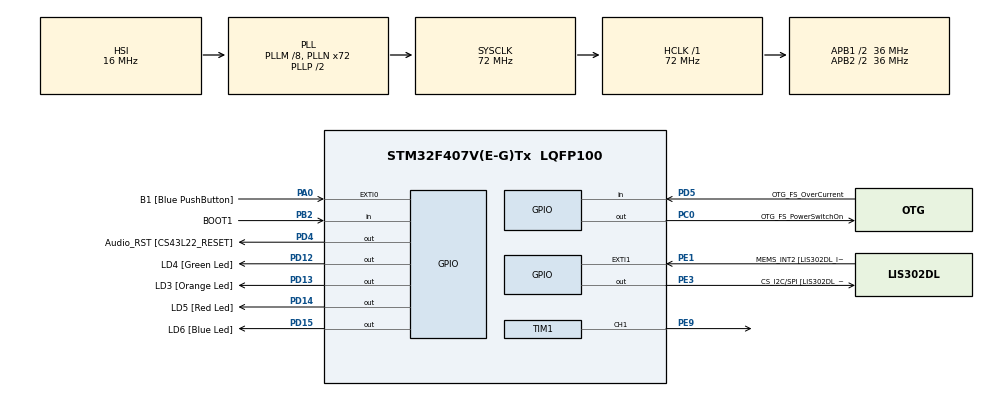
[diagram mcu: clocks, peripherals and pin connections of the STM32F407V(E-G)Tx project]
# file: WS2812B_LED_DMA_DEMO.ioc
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Dma.Request0=TIM1_CH1
Dma.TIM1_CH1.0.Direction=DMA_MEMORY_TO_PERIPH
Dma.TIM1_CH1.0.FIFOMode=DMA_FIFOMODE_DISABLE
Dma.TIM1_CH1.0.Instance=DMA2_Stream1
Dma.TIM1_CH1.0.MemDataAlignment=DMA_MDATAALIGN_HALFWORD
Dma.TIM1_CH1.0.MemInc=DMA_MINC_ENABLE
Dma.TIM1_CH1.0.Mode=DMA_NORMAL
Dma.TIM1_CH1.0.PeriphDataAlignment=DMA_PDATAALIGN_HALFWORD
Dma.TIM1_CH1.0.PeriphInc=DMA_PINC_DISABLE
Dma.TIM1_CH1.0.Priority=DMA_PRIORITY_LOW
Mcu.Family=STM32F4
Mcu.Name=STM32F407V(E-G)Tx
Mcu.Package=LQFP100
NVIC.DMA2_Stream1_IRQn=true\:0\:0\:false\:false\:true\:false\:true\:true
NVIC.PriorityGroup=NVIC_PRIORITYGROUP_0
PA0-WKUP.GPIO_Label=B1 [Blue PushButton]
PA0-WKUP.Signal=GPXTI0
PA10.GPIO_Label=OTG_FS_ID
PA10.GPIO_Mode=GPIO_MODE_AF_PP
PA10.GPIO_PuPd=GPIO_NOPULL
PA10.GPIO_Speed=GPIO_SPEED_FREQ_LOW
PA10.Signal=USB_OTG_FS_ID
PA11.GPIO_Label=OTG_FS_DM
PA11.GPIO_Mode=GPIO_MODE_AF_PP
PA11.GPIO_PuPd=GPIO_NOPULL
PA11.GPIO_Speed=GPIO_SPEED_FREQ_LOW
PA11.Signal=USB_OTG_FS_DM
PA12.GPIO_Label=OTG_FS_DP
PA12.GPIO_Mode=GPIO_MODE_AF_PP
PA12.GPIO_PuPd=GPIO_NOPULL
PA12.GPIO_Speed=GPIO_SPEED_FREQ_LOW
PA12.Signal=USB_OTG_FS_DP
PA13.GPIO_Label=SWDIO
PA13.Signal=SYS_JTMS-SWDIO
PA14.GPIO_Label=SWCLK
PA14.Signal=SYS_JTCK-SWCLK
PA4.GPIO_Label=I2S3_WS [CS43L22_LRCK]
PA4.GPIO_Mode=GPIO_MODE_AF_PP
PA4.GPIO_PuPd=GPIO_NOPULL
PA4.GPIO_Speed=GPIO_SPEED_FREQ_LOW
PA4.Signal=I2S3_WS
PA5.GPIO_Label=SPI1_SCK [LIS302DL_SCL/SPC]
PA5.GPIO_Mode=GPIO_MODE_AF_PP
PA5.GPIO_PuPd=GPIO_NOPULL
PA5.GPIO_Speed=GPIO_SPEED_FREQ_LOW
PA5.Signal=SPI1_SCK
PA6.GPIO_Label=SPI1_MISO [LIS302DL_SDO]
PA6.GPIO_Mode=GPIO_MODE_AF_PP
PA6.GPIO_PuPd=GPIO_NOPULL
PA6.GPIO_Speed=GPIO_SPEED_FREQ_LOW
PA6.Signal=SPI1_MISO
PA7.GPIO_Label=SPI1_MOSI [LIS302DL_SDA/SDI/SDO]
PA7.GPIO_Mode=GPIO_MODE_AF_PP
PA7.GPIO_PuPd=GPIO_NOPULL
PA7.GPIO_Speed=GPIO_SPEED_FREQ_LOW
PA7.Signal=SPI1_MOSI
PA9.GPIO_Label=VBUS_FS
PA9.GPIO_Mode=GPIO_MODE_INPUT
PA9.GPIO_PuPd=GPIO_NOPULL
PA9.Signal=USB_OTG_FS_VBUS
PB10.GPIO_Label=CLK_IN [MP45DT02_CLK]
PB10.GPIO_Mode=GPIO_MODE_AF_PP
PB10.GPIO_PuPd=GPIO_NOPULL
PB10.GPIO_Speed=GPIO_SPEED_FREQ_LOW
PB10.Signal=I2S2_CK
PB2.GPIO_Label=BOOT1
PB2.GPIO_Mode=GPIO_MODE_INPUT
PB2.GPIO_PuPd=GPIO_NOPULL
PB2.Signal=GPIO_Input
PB3.GPIO_Label=SWO
PB3.Signal=SYS_JTDO-SWO
PB6.GPIO_Label=Audio_SCL [CS43L22_SCL]
PB6.GPIO_Mode=GPIO_MODE_AF_OD
PB6.GPIO_PuPd=GPIO_NOPULL
PB6.GPIO_Speed=GPIO_SPEED_FREQ_LOW
PB6.Signal=I2C1_SCL
PB9.GPIO_Label=Audio_SDA [CS43L22_SDA]
PB9.GPIO_Mode=GPIO_MODE_AF_OD
PB9.GPIO_PuPd=GPIO_NOPULL
PB9.GPIO_Speed=GPIO_SPEED_FREQ_LOW
PB9.Signal=I2C1_SDA
PC0.GPIO_Label=OTG_FS_PowerSwitchOn
PC0.GPIO_PuPd=GPIO_NOPULL
PC0.GPIO_Speed=GPIO_SPEED_FREQ_LOW
PC0.PinState=GPIO_PIN_SET
PC0.Signal=GPIO_Output
PC10.GPIO_Label=I2S3_SCK [CS43L22_SCLK]
PC10.GPIO_Mode=GPIO_MODE_AF_PP
PC10.GPIO_PuPd=GPIO_NOPULL
PC10.GPIO_Speed=GPIO_SPEED_FREQ_LOW
PC10.Signal=I2S3_CK
PC12.GPIO_Label=I2S3_SD [CS43L22_SDIN]
PC12.GPIO_Mode=GPIO_MODE_AF_PP
PC12.GPIO_PuPd=GPIO_NOPULL
PC12.GPIO_Speed=GPIO_SPEED_FREQ_LOW
PC12.Signal=I2S3_SD
PC14-OSC32_IN.GPIO_Label=PC14-OSC32_IN
PC14-OSC32_IN.Signal=RCC_OSC32_IN
PC15-OSC32_OUT.GPIO_Label=PC15-OSC32_OUT
PC15-OSC32_OUT.Signal=RCC_OSC32_OUT
PC3.GPIO_Label=PDM_OUT [MP45DT02_DOUT]
PC3.GPIO_Mode=GPIO_MODE_AF_PP
PC3.GPIO_PuPd=GPIO_NOPULL
PC3.GPIO_Speed=GPIO_SPEED_FREQ_LOW
PC3.Signal=I2S2_SD
PC7.GPIO_Label=I2S3_MCK [CS43L22_MCLK]
PC7.GPIO_Mode=GPIO_MODE_AF_PP
PC7.GPIO_PuPd=GPIO_NOPULL
PC7.GPIO_Speed=GPIO_SPEED_FREQ_LOW
PC7.Signal=I2S3_MCK
PD12.GPIO_Label=LD4 [Green Led]
PD12.GPIO_PuPd=GPIO_NOPULL
PD12.GPIO_Speed=GPIO_SPEED_FREQ_LOW
PD12.Signal=GPIO_Output
PD13.GPIO_Label=LD3 [Orange Led]
PD13.GPIO_PuPd=GPIO_NOPULL
PD13.GPIO_Speed=GPIO_SPEED_FREQ_LOW
PD13.Signal=GPIO_Output
PD14.GPIO_Label=LD5 [Red Led]
PD14.GPIO_PuPd=GPIO_NOPULL
PD14.GPIO_Speed=GPIO_SPEED_FREQ_LOW
PD14.Signal=GPIO_Output
PD15.GPIO_Label=LD6 [Blue Led]
PD15.GPIO_PuPd=GPIO_NOPULL
PD15.GPIO_Speed=GPIO_SPEED_FREQ_LOW
PD15.Signal=GPIO_Output
PD4.GPIO_Label=Audio_RST [CS43L22_RESET]
PD4.GPIO_PuPd=GPIO_NOPULL
PD4.GPIO_Speed=GPIO_SPEED_FREQ_LOW
PD4.Signal=GPIO_Output
PD5.GPIO_Label=OTG_FS_OverCurrent
PD5.GPIO_Mode=GPIO_MODE_INPUT
PD5.GPIO_PuPd=GPIO_NOPULL
PD5.Signal=GPIO_Input
PE1.GPIO_Label=MEMS_INT2 [LIS302DL_INT2]
PE1.GPIO_ModeDefaultEXTI=GPIO_MODE_EVT_RISING
PE1.GPIO_PuPd=GPIO_NOPULL
PE1.Signal=GPXTI1
PE3.GPIO_Label=CS_I2C/SPI [LIS302DL_CS_I2C/SPI]
PE3.GPIO_PuPd=GPIO_NOPULL
PE3.GPIO_Speed=GPIO_SPEED_FREQ_LOW
PE3.Signal=GPIO_Output
PE9.Signal=S_TIM1_CH1
PH0-OSC_IN.GPIO_Label=PH0-OSC_IN
PH0-OSC_IN.Signal=RCC_OSC_IN
PH1-OSC_OUT.GPIO_Label=PH1-OSC_OUT
PH1-OSC_OUT.Signal=RCC_OSC_OUT
ProjectManager.HeapSize=0x200
ProjectManager.StackSize=0x400
ProjectManager.TargetToolchain=STM32CubeIDE
RCC.48MHZClocksFreq_Value=20571428.57142857
RCC.AHBFreq_Value=72000000
RCC.APB1CLKDivider=RCC_HCLK_DIV2
RCC.APB1Freq_Value=36000000
RCC.APB1TimFreq_Value=72000000
RCC.APB2CLKDivider=RCC_HCLK_DIV2
RCC.APB2Freq_Value=36000000
RCC.APB2TimFreq_Value=72000000
RCC.CortexFreq_Value=72000000
RCC.HCLKFreq_Value=72000000
RCC.HSE_VALUE=8000000
RCC.HSI_VALUE=16000000
RCC.LSE_VALUE=32768
RCC.PLLM=8
RCC.PLLN=72
RCC.PLLQ=7
RCC.SYSCLKFreq_VALUE=72000000
RCC.SYSCLKSource=RCC_SYSCLKSOURCE_PLLCLK
RCC.VCOOutputFreq_Value=144000000
SH.S_TIM1_CH1.0=TIM1_CH1,PWM Generation1 CH1
TIM1.Channel-PWM\ Generation1\ CH1=TIM_CHANNEL_1
TIM1.Period=90-1
board=STM32F407G-DISC1

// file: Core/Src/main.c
/* USER CODE BEGIN Header */
/**
  ******************************************************************************
  * @file           : main.c
  * @brief          : Main program body
  ******************************************************************************
  * @attention
  *
  * Copyright (c) 2024 STMicroelectronics.
  * All rights reserved.
  *
  * This software is licensed under terms that can be found in the LICENSE file
  * in the root directory of this software component.
  * If no LICENSE file comes with this software, it is provided AS-IS.
  *
  ******************************************************************************
  */
/* USER CODE END Header */
#include "main.h"

TIM_HandleTypeDef htim1;
DMA_HandleTypeDef hdma_tim1_ch1;
uint8_t datasentflag=0;
/* USER CODE BEGIN PV */
uint8_t LED_Data[MAX_LED][4];
uint8_t LED_Mod[MAX_LED][4];
/* USER CODE END PV */

void SystemClock_Config(void);
static void MX_GPIO_Init(void);
static void MX_DMA_Init(void);
static void MX_TIM1_Init(void);

int main(void)
{

  /* MCU Configuration--------------------------------------------------------*/

  /* Reset of all peripherals, Initializes the Flash interface and the Systick. */
  HAL_Init();

  /* Configure the system clock */
  SystemClock_Config();

  /* Initialize all configured peripherals */
  MX_GPIO_Init();
  MX_DMA_Init();
  MX_TIM1_Init();
  /* USER CODE BEGIN 2 */
  for(int i=0;i<20;i++){
  	   Set_LED(i, 0, 0, 0);
  	  }
  WS2812_Send();
  HAL_Delay(1000);
  for(int i=0;i<20;i++){
	   Set_LED(i, 0, 0, 255);
	  }
	  WS2812_Send();
	  HAL_Delay(1000);
	  for(int i=0;i<20;i++){
	   	   Set_LED(i, 0, 0, 0);
	   	  }
	  HAL_Delay(1000);

	   WS2812_Send();
	   for(int i=0;i<20;i++){
	 	   Set_LED(i, 0, 255, 0);
	 	  }
	 	  WS2812_Send();
	 	 HAL_Delay(1000);
	 		  for(int i=0;i<20;i++){
	 		   	   Set_LED(i, 0, 0, 0);
	 		   	  }
	 		  HAL_Delay(1000);

	 		   WS2812_Send();
	 		   for(int i=0;i<20;i++){
	 		 	   Set_LED(i, 255, 0, 0);
	 		 	  }
	 		 	  WS2812_Send();
  /* USER CODE END 2 */

  /* Infinite loop */
  while (1)
  {

  }
}

void SystemClock_Config(void)
{
  RCC_OscInitTypeDef RCC_OscInitStruct = {0};
  RCC_ClkInitTypeDef RCC_ClkInitStruct = {0};

  /** Configure the main internal regulator output voltage
  */
  __HAL_RCC_PWR_CLK_ENABLE();
  __HAL_PWR_VOLTAGESCALING_CONFIG(PWR_REGULATOR_VOLTAGE_SCALE1);

  /** Initializes the RCC Oscillators according to the specified parameters
  * in the RCC_OscInitTypeDef structure.
  */
  RCC_OscInitStruct.OscillatorType = RCC_OSCILLATORTYPE_HSI;
  RCC_OscInitStruct.HSIState = RCC_HSI_ON;
  RCC_OscInitStruct.HSICalibrationValue = RCC_HSICALIBRATION_DEFAULT;
  RCC_OscInitStruct.PLL.PLLState = RCC_PLL_ON;
  RCC_OscInitStruct.PLL.PLLSource = RCC_PLLSOURCE_HSI;
  RCC_OscInitStruct.PLL.PLLM = 8;
  RCC_OscInitStruct.PLL.PLLN = 72;
  RCC_OscInitStruct.PLL.PLLP = RCC_PLLP_DIV2;
  RCC_OscInitStruct.PLL.PLLQ = 7;
  if (HAL_RCC_OscConfig(&RCC_OscInitStruct) != HAL_OK)
  {
    Error_Handler();
  }

  /** Initializes the CPU, AHB and APB buses clocks
  */
  RCC_ClkInitStruct.ClockType = RCC_CLOCKTYPE_HCLK|RCC_CLOCKTYPE_SYSCLK
                              |RCC_CLOCKTYPE_PCLK1|RCC_CLOCKTYPE_PCLK2;
  RCC_ClkInitStruct.SYSCLKSource = RCC_SYSCLKSOURCE_PLLCLK;
  RCC_ClkInitStruct.AHBCLKDivider = RCC_SYSCLK_DIV1;
  RCC_ClkInitStruct.APB1CLKDivider = RCC_HCLK_DIV2;
  RCC_ClkInitStruct.APB2CLKDivider = RCC_HCLK_DIV2;

  if (HAL_RCC_ClockConfig(&RCC_ClkInitStruct, FLASH_LATENCY_2) != HAL_OK)
  {
    Error_Handler();
  }
}

static void MX_TIM1_Init(void)
{

  TIM_MasterConfigTypeDef sMasterConfig = {0};
  TIM_OC_InitTypeDef sConfigOC = {0};
  TIM_BreakDeadTimeConfigTypeDef sBreakDeadTimeConfig = {0};

  htim1.Instance = TIM1;
  htim1.Init.Prescaler = 0;
  htim1.Init.CounterMode = TIM_COUNTERMODE_UP;
  htim1.Init.Period = 90-1;
  htim1.Init.ClockDivision = TIM_CLOCKDIVISION_DIV1;
  htim1.Init.RepetitionCounter = 0;
  htim1.Init.AutoReloadPreload = TIM_AUTORELOAD_PRELOAD_DISABLE;
  if (HAL_TIM_PWM_Init(&htim1) != HAL_OK)
  {
    Error_Handler();
  }
//  sMasterConfig.MasterOutputTrigger = TIM_TRGO_RESET;
//  sMasterConfig.MasterSlaveMode = TIM_MASTERSLAVEMODE_DISABLE;
//  if (HAL_TIMEx_MasterConfigSynchronization(&htim1, &sMasterConfig) != HAL_OK)
//  {
//    Error_Handler();
//  }
  sConfigOC.OCMode = TIM_OCMODE_PWM1;
  sConfigOC.Pulse = 0;
  sConfigOC.OCPolarity = TIM_OCPOLARITY_HIGH;
//  sConfigOC.OCNPolarity = TIM_OCNPOLARITY_HIGH;
//  sConfigOC.OCFastMode = TIM_OCFAST_DISABLE;
//  sConfigOC.OCIdleState = TIM_OCIDLESTATE_RESET;
//  sConfigOC.OCNIdleState = TIM_OCNIDLESTATE_RESET;
  if (HAL_TIM_PWM_ConfigChannel(&htim1, &sConfigOC, TIM_CHANNEL_1) != HAL_OK)
  {
    Error_Handler();
  }
//  sBreakDeadTimeConfig.OffStateRunMode = TIM_OSSR_DISABLE;
//  sBreakDeadTimeConfig.OffStateIDLEMode = TIM_OSSI_DISABLE;
//  sBreakDeadTimeConfig.LockLevel = TIM_LOCKLEVEL_OFF;
//  sBreakDeadTimeConfig.DeadTime = 0;
//  sBreakDeadTimeConfig.BreakState = TIM_BREAK_DISABLE;
//  sBreakDeadTimeConfig.BreakPolarity = TIM_BREAKPOLARITY_HIGH;
//  sBreakDeadTimeConfig.AutomaticOutput = TIM_AUTOMATICOUTPUT_DISABLE;
//  if (HAL_TIMEx_ConfigBreakDeadTime(&htim1, &sBreakDeadTimeConfig) != HAL_OK)
//  {
//    Error_Handler();
//  }
  HAL_TIM_MspPostInit(&htim1);

}

static void MX_DMA_Init(void)
{

  /* DMA controller clock enable */
  __HAL_RCC_DMA2_CLK_ENABLE();

  /* DMA interrupt init */
  /* DMA2_Stream1_IRQn interrupt configuration */
  HAL_NVIC_SetPriority(DMA2_Stream1_IRQn, 0, 0);
  HAL_NVIC_EnableIRQ(DMA2_Stream1_IRQn);

}

static void MX_GPIO_Init(void)
{
  GPIO_InitTypeDef GPIO_InitStruct = {0};

  /* GPIO Ports Clock Enable */
  __HAL_RCC_GPIOE_CLK_ENABLE();
  __HAL_RCC_GPIOC_CLK_ENABLE();
  __HAL_RCC_GPIOH_CLK_ENABLE();
  __HAL_RCC_GPIOA_CLK_ENABLE();
  __HAL_RCC_GPIOB_CLK_ENABLE();
  __HAL_RCC_GPIOD_CLK_ENABLE();

  /*Configure GPIO pin Output Level */
  HAL_GPIO_WritePin(CS_I2C_SPI_GPIO_Port, CS_I2C_SPI_Pin, GPIO_PIN_RESET);

  /*Configure GPIO pin Output Level */
  HAL_GPIO_WritePin(OTG_FS_PowerSwitchOn_GPIO_Port, OTG_FS_PowerSwitchOn_Pin, GPIO_PIN_SET);

  /*Configure GPIO pin Output Level */
  HAL_GPIO_WritePin(GPIOD, LD4_Pin|LD3_Pin|LD5_Pin|LD6_Pin
                          |Audio_RST_Pin, GPIO_PIN_RESET);

  /*Configure GPIO pin : CS_I2C_SPI_Pin */
  GPIO_InitStruct.Pin = CS_I2C_SPI_Pin;
  GPIO_InitStruct.Mode = GPIO_MODE_OUTPUT_PP;
  GPIO_InitStruct.Pull = GPIO_NOPULL;
  GPIO_InitStruct.Speed = GPIO_SPEED_FREQ_LOW;
  HAL_GPIO_Init(CS_I2C_SPI_GPIO_Port, &GPIO_InitStruct);

  /*Configure GPIO pin : OTG_FS_PowerSwitchOn_Pin */
  GPIO_InitStruct.Pin = OTG_FS_PowerSwitchOn_Pin;
  GPIO_InitStruct.Mode = GPIO_MODE_OUTPUT_PP;
  GPIO_InitStruct.Pull = GPIO_NOPULL;
  GPIO_InitStruct.Speed = GPIO_SPEED_FREQ_LOW;
  HAL_GPIO_Init(OTG_FS_PowerSwitchOn_GPIO_Port, &GPIO_InitStruct);

  /*Configure GPIO pin : PDM_OUT_Pin */
  GPIO_InitStruct.Pin = PDM_OUT_Pin;
  GPIO_InitStruct.Mode = GPIO_MODE_AF_PP;
  GPIO_InitStruct.Pull = GPIO_NOPULL;
  GPIO_InitStruct.Speed = GPIO_SPEED_FREQ_LOW;
  GPIO_InitStruct.Alternate = GPIO_AF5_SPI2;
  HAL_GPIO_Init(PDM_OUT_GPIO_Port, &GPIO_InitStruct);

  /*Configure GPIO pin : B1_Pin */
  GPIO_InitStruct.Pin = B1_Pin;
  GPIO_InitStruct.Mode = GPIO_MODE_IT_RISING;
  GPIO_InitStruct.Pull = GPIO_NOPULL;
  HAL_GPIO_Init(B1_GPIO_Port, &GPIO_InitStruct);

  /*Configure GPIO pin : I2S3_WS_Pin */
  GPIO_InitStruct.Pin = I2S3_WS_Pin;
  GPIO_InitStruct.Mode = GPIO_MODE_AF_PP;
  GPIO_InitStruct.Pull = GPIO_NOPULL;
  GPIO_InitStruct.Speed = GPIO_SPEED_FREQ_LOW;
  GPIO_InitStruct.Alternate = GPIO_AF6_SPI3;
  HAL_GPIO_Init(I2S3_WS_GPIO_Port, &GPIO_InitStruct);

  /*Configure GPIO pins : SPI1_SCK_Pin SPI1_MISO_Pin SPI1_MOSI_Pin */
  GPIO_InitStruct.Pin = SPI1_SCK_Pin|SPI1_MISO_Pin|SPI1_MOSI_Pin;
  GPIO_InitStruct.Mode = GPIO_MODE_AF_PP;
  GPIO_InitStruct.Pull = GPIO_NOPULL;
  GPIO_InitStruct.Speed = GPIO_SPEED_FREQ_LOW;
  GPIO_InitStruct.Alternate = GPIO_AF5_SPI1;
  HAL_GPIO_Init(GPIOA, &GPIO_InitStruct);

  /*Configure GPIO pin : BOOT1_Pin */
  GPIO_InitStruct.Pin = BOOT1_Pin;
  GPIO_InitStruct.Mode = GPIO_MODE_INPUT;
  GPIO_InitStruct.Pull = GPIO_NOPULL;
  HAL_GPIO_Init(BOOT1_GPIO_Port, &GPIO_InitStruct);

  /*Configure GPIO pin : CLK_IN_Pin */
  GPIO_InitStruct.Pin = CLK_IN_Pin;
  GPIO_InitStruct.Mode = GPIO_MODE_AF_PP;
  GPIO_InitStruct.Pull = GPIO_NOPULL;
  GPIO_InitStruct.Speed = GPIO_SPEED_FREQ_LOW;
  GPIO_InitStruct.Alternate = GPIO_AF5_SPI2;
  HAL_GPIO_Init(CLK_IN_GPIO_Port, &GPIO_InitStruct);

  /*Configure GPIO pins : LD4_Pin LD3_Pin LD5_Pin LD6_Pin
                           Audio_RST_Pin */
  GPIO_InitStruct.Pin = LD4_Pin|LD3_Pin|LD5_Pin|LD6_Pin
                          |Audio_RST_Pin;
  GPIO_InitStruct.Mode = GPIO_MODE_OUTPUT_PP;
  GPIO_InitStruct.Pull = GPIO_NOPULL;
  GPIO_InitStruct.Speed = GPIO_SPEED_FREQ_LOW;
  HAL_GPIO_Init(GPIOD, &GPIO_InitStruct);

  /*Configure GPIO pins : I2S3_MCK_Pin I2S3_SCK_Pin I2S3_SD_Pin */
  GPIO_InitStruct.Pin = I2S3_MCK_Pin|I2S3_SCK_Pin|I2S3_SD_Pin;
  GPIO_InitStruct.Mode = GPIO_MODE_AF_PP;
  GPIO_InitStruct.Pull = GPIO_NOPULL;
  GPIO_InitStruct.Speed = GPIO_SPEED_FREQ_LOW;
  GPIO_InitStruct.Alternate = GPIO_AF6_SPI3;
  HAL_GPIO_Init(GPIOC, &GPIO_InitStruct);

  /*Configure GPIO pin : VBUS_FS_Pin */
  GPIO_InitStruct.Pin = VBUS_FS_Pin;
  GPIO_InitStruct.Mode = GPIO_MODE_INPUT;
  GPIO_InitStruct.Pull = GPIO_NOPULL;
  HAL_GPIO_Init(VBUS_FS_GPIO_Port, &GPIO_InitStruct);

  /*Configure GPIO pins : OTG_FS_ID_Pin OTG_FS_DM_Pin OTG_FS_DP_Pin */
  GPIO_InitStruct.Pin = OTG_FS_ID_Pin|OTG_FS_DM_Pin|OTG_FS_DP_Pin;
  GPIO_InitStruct.Mode = GPIO_MODE_AF_PP;
  GPIO_InitStruct.Pull = GPIO_NOPULL;
  GPIO_InitStruct.Speed = GPIO_SPEED_FREQ_LOW;
  GPIO_InitStruct.Alternate = GPIO_AF10_OTG_FS;
  HAL_GPIO_Init(GPIOA, &GPIO_InitStruct);

  /*Configure GPIO pin : OTG_FS_OverCurrent_Pin */
  GPIO_InitStruct.Pin = OTG_FS_OverCurrent_Pin;
  GPIO_InitStruct.Mode = GPIO_MODE_INPUT;
  GPIO_InitStruct.Pull = GPIO_NOPULL;
  HAL_GPIO_Init(OTG_FS_OverCurrent_GPIO_Port, &GPIO_InitStruct);

  /*Configure GPIO pins : Audio_SCL_Pin Audio_SDA_Pin */
  GPIO_InitStruct.Pin = Audio_SCL_Pin|Audio_SDA_Pin;
  GPIO_InitStruct.Mode = GPIO_MODE_AF_OD;
  GPIO_InitStruct.Pull = GPIO_NOPULL;
  GPIO_InitStruct.Speed = GPIO_SPEED_FREQ_LOW;
  GPIO_InitStruct.Alternate = GPIO_AF4_I2C1;
  HAL_GPIO_Init(GPIOB, &GPIO_InitStruct);

  /*Configure GPIO pin : MEMS_INT2_Pin */
  GPIO_InitStruct.Pin = MEMS_INT2_Pin;
  GPIO_InitStruct.Mode = GPIO_MODE_EVT_RISING;
  GPIO_InitStruct.Pull = GPIO_NOPULL;
  HAL_GPIO_Init(MEMS_INT2_GPIO_Port, &GPIO_InitStruct);

}

/* USER CODE BEGIN 4 */
void Set_LED (int LEDnum, int Red, int Green, int Blue)
{
	LED_Data[LEDnum][0] = LEDnum;
	LED_Data[LEDnum][1] = Green;
	LED_Data[LEDnum][2] = Red;
	LED_Data[LEDnum][3] = Blue;
}
uint16_t pwmData[(24*MAX_LED)+50];

void WS2812_Send (void)
{
	uint32_t indx=0;
	uint32_t color;

	for (int i= 0; i<MAX_LED; i++)
	{

		color = ((LED_Data[i][1]<<16) | (LED_Data[i][2]<<8) | (LED_Data[i][3]));

		for (int i=23; i>=0; i--)
		{
			if (color&(1<<i))
			{
				pwmData[indx] = 60;  // 2/3 of 90
			}

			else pwmData[indx] = 30;  // 1/3 of 90

			indx++;
		}

	}

	for (int i=0; i<50; i++)
	{
		pwmData[indx] = 0;
		indx++;
	}

	HAL_TIM_PWM_Start_DMA(&htim1, TIM_CHANNEL_1, (uint32_t *)pwmData, indx);
	while (!datasentflag){};
	datasentflag = 0;
}
void HAL_TIM_PWM_PulseFinishedCallback(TIM_HandleTypeDef *htim)
{
	HAL_TIM_PWM_Stop_DMA(&htim1, TIM_CHANNEL_1);
	datasentflag=1;
}
/* USER CODE END 4 */

void Error_Handler(void)
{
  __disable_irq();
  while (1)
  {
  }
}
